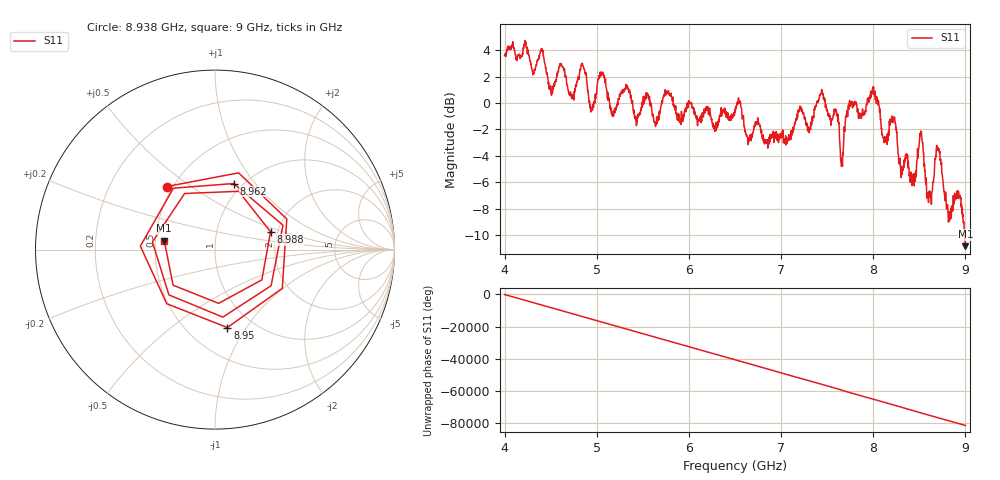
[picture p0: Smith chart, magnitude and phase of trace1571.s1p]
! Created with skrf 1.8.0 (http://scikit-rf.org).
# Hz S RI R 50.0
!freq ReS11 ImS11
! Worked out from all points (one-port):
!   1601 points, 4 GHz to 9 GHz, reference 50 ohm
!   lowest |S11| = -10.8 dB at 9 GHz (marker M1), VSWR 1.81, Z = 27.8 + j3.05 ohm
!   |S11| at or under -10 dB: 8.989824 GHz to end of sweep
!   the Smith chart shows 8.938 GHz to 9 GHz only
!   S11 on the Smith chart (normalised r, x): 8.938 GHz: 0.46, +0.41; 8.95 GHz: 0.76, -0.82; 8.962 GHz: 0.91, +0.79; 8.988 GHz: 1.84, +0.41; 9 GHz: 0.56, +0.06
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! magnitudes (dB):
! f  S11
! 4 GHz  3.6
! 4.4 GHz  3.9
! 4.506 GHz  0.7
! 4.625 GHz  2.8
! 4.728 GHz  0.3
! 4.853 GHz  2.8
! 4.941 GHz  -0.4
! 5.05 GHz  2.1
! 5.166 GHz  -0.9
! 5.25 GHz  0.5
! 5.875 GHz  -1.3
! 6.5 GHz  -0.5
! 7.125 GHz  -2.3
! 7.444 GHz  0.8
! 7.659 GHz  -4.6
! 7.75 GHz  -0.2
! 8.003 GHz  1.2
! 8.375 GHz  -4.3
! 8.444 GHz  -6.3
! 8.522 GHz  -2.2
! 8.606 GHz  -6.9
! 8.703 GHz  -3.4
! 8.816 GHz  -9.0
! 8.938 GHz  -7.1
! 8.95 GHz  -7.1
! 8.962 GHz  -8.3
! 8.988 GHz  -9.8
! 9 GHz  -10.8
